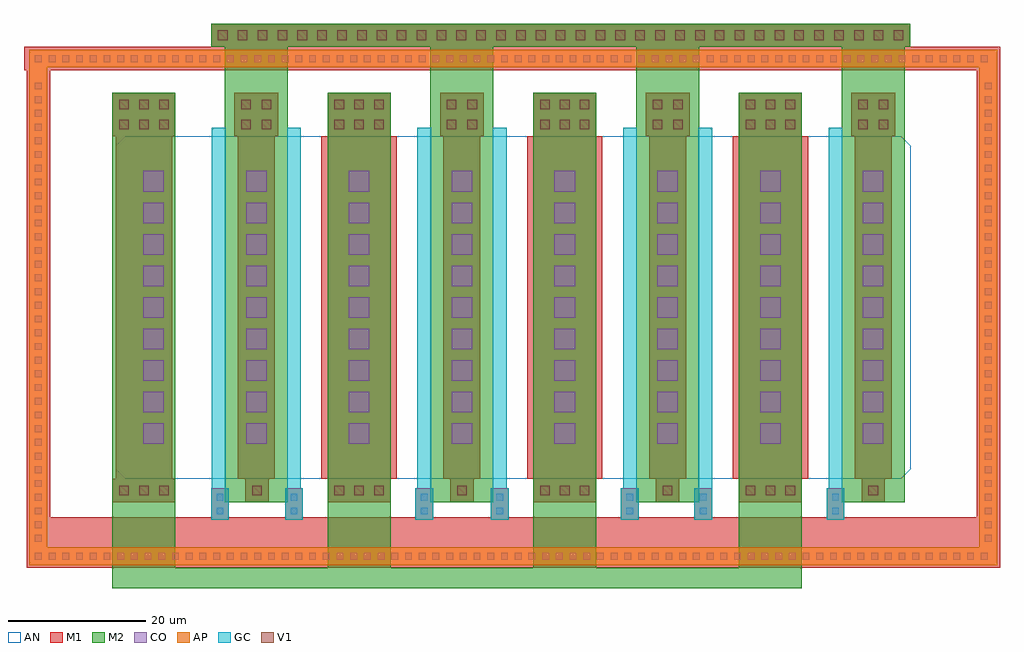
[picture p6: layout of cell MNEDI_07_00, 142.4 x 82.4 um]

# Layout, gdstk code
import gdstk
lib = gdstk.Library(unit=1e-6, precision=1e-09)
def R(c, l, rs):  # rectangles x0, y0, x1, y1
    for r in rs: c.add(gdstk.rectangle(r[:2], r[2:], *l))
def A(c, l, x, y, w, h, nx, ny, dx, dy):  # array of equal rectangles
    R(c, l, [(x+i*dx, y+j*dy, x+i*dx+w, y+j*dy+h) for i in range(nx) for j in range(ny)])
def P(c, l, *ps):  # polygons
    for p in ps: c.add(gdstk.Polygon(p, *l))
AP = (3, 1)
AN = (3, 2)
GC = (8, 1)
CO = (11, 0)
M1 = (13, 0)
V1 = (19, 0)
M2 = (20, 0)

wlmn_cdns_696586951423 = lib.new_cell('WLMN_CDNS_696586951423')

tc14_cdns_696586951420 = lib.new_cell('TC14_CDNS_696586951420')
R(tc14_cdns_696586951420, M1, [(-4.6,-3.1,4.6,3.2)])
A(tc14_cdns_696586951420, V1, -3.6, -2.1, 1.4, 1.4, 3, 2, 2.9, 2.9)
R(tc14_cdns_696586951420, M2, [(-4.6,-3.1,4.6,3.2)])

tc14_cdns_696586951421 = lib.new_cell('TC14_CDNS_696586951421')
R(tc14_cdns_696586951421, M1, [(-1.7,-3.1,1.7,3.2)])
R(tc14_cdns_696586951421, V1, [(-0.7,-2.1,0.7,-0.7), (-0.7,0.8,0.7,2.2)])
R(tc14_cdns_696586951421, M2, [(-1.7,-3.1,1.7,3.2)])

tc14_cdns_696586951422 = lib.new_cell('TC14_CDNS_696586951422')
R(tc14_cdns_696586951422, M1, [(-4.6,-1.7,4.6,1.7)])
A(tc14_cdns_696586951422, V1, -3.6, -0.7, 1.4, 1.4, 3, 1, 2.9, 0)
R(tc14_cdns_696586951422, M2, [(-4.6,-1.7,4.6,1.7)])

tc14_cdns_696586951423 = lib.new_cell('TC14_CDNS_696586951423')
R(tc14_cdns_696586951423, M1, [(-1.7,-1.7,1.7,1.7)])
R(tc14_cdns_696586951423, V1, [(-0.7,-0.7,0.7,0.7)])
R(tc14_cdns_696586951423, M2, [(-1.7,-1.7,1.7,1.7)])

sgct_cdns_696586951424 = lib.new_cell('SGCT_CDNS_696586951424')
R(sgct_cdns_696586951424, GC, [(-1.3,-2.3,1.3,2.3)])
R(sgct_cdns_696586951424, CO, [(-0.5,-1.5,0.5,-0.5), (-0.5,0.5,0.5,1.5)])
R(sgct_cdns_696586951424, M1, [(-1.3,-2.3,1.3,2.3)])

tc14_cdns_696586951425 = lib.new_cell('TC14_CDNS_696586951425')
R(tc14_cdns_696586951425, M1, [(-51,-1.7,51,1.7)])
A(tc14_cdns_696586951425, V1, -50, -0.7, 1.4, 1.4, 35, 1, 2.9, 0)
R(tc14_cdns_696586951425, M2, [(-51,-1.7,51,1.7)])

mnedi_07_00 = lib.new_cell('MNEDI_07_00')
P(mnedi_07_00, AP, [(5,5),(5,77.6),(7.6,77.6),(7.6,7.6),(143.6,7.6),(143.6,77.6),(5,77.6),(5,80.2),(146.2,80.2),(146.2,5)])
P(mnedi_07_00, AN, [(19,17.6),(17.6,19),(17.6,66.2),(19,67.6),(132.2,67.6),(133.6,66.2),(133.6,19),(132.2,17.6)],
  [(19,17.6),(17.6,19),(17.6,66.2),(19,67.6),(132.2,67.6),(133.6,66.2),(133.6,19),(132.2,17.6)])
R(mnedi_07_00, GC, [(31.6,16.2,33.6,68.8), (42.6,16.2,44.6,68.8), (61.6,16.2,63.6,68.8), (72.6,16.2,74.6,68.8), (91.6,16.2,93.6,68.8), (102.6,16.2,104.6,68.8), (121.6,16.2,123.6,68.8)])
A(mnedi_07_00, CO, 5.8, 5.8, 1, 1, 70, 2, 2, 72.6)
A(mnedi_07_00, CO, 5.8, 8.4, 1, 1, 1, 34, 0, 2)
A(mnedi_07_00, CO, 144.4, 8.4, 1, 1, 1, 34, 0, 2)
A(mnedi_07_00, CO, 21.6, 22.7, 3, 3, 1, 9, 0, 4.6)
A(mnedi_07_00, CO, 126.6, 22.7, 3, 3, 1, 9, 0, 4.6)
R(mnedi_07_00, CO, [(36.6,22.7,39.6,25.7), (36.6,22.7,39.6,25.7), (51.6,22.7,54.6,25.7), (51.6,22.7,54.6,25.7), (66.6,22.7,69.6,25.7), (66.6,22.7,69.6,25.7), (81.6,22.7,84.6,25.7), (81.6,22.7,84.6,25.7), (96.6,22.7,99.6,25.7), (96.6,22.7,99.6,25.7), (111.6,22.7,114.6,25.7), (111.6,22.7,114.6,25.7), (36.6,27.3,39.6,30.3), (36.6,27.3,39.6,30.3), (51.6,27.3,54.6,30.3), (51.6,27.3,54.6,30.3), (66.6,27.3,69.6,30.3), (66.6,27.3,69.6,30.3), (81.6,27.3,84.6,30.3), (81.6,27.3,84.6,30.3), (96.6,27.3,99.6,30.3), (96.6,27.3,99.6,30.3), (111.6,27.3,114.6,30.3), (111.6,27.3,114.6,30.3), (36.6,31.9,39.6,34.9), (36.6,31.9,39.6,34.9), (51.6,31.9,54.6,34.9), (51.6,31.9,54.6,34.9), (66.6,31.9,69.6,34.9), (66.6,31.9,69.6,34.9), (81.6,31.9,84.6,34.9), (81.6,31.9,84.6,34.9), (96.6,31.9,99.6,34.9), (96.6,31.9,99.6,34.9), (111.6,31.9,114.6,34.9), (111.6,31.9,114.6,34.9), (36.6,36.5,39.6,39.5), (36.6,36.5,39.6,39.5), (51.6,36.5,54.6,39.5), (51.6,36.5,54.6,39.5), (66.6,36.5,69.6,39.5), (66.6,36.5,69.6,39.5), (81.6,36.5,84.6,39.5), (81.6,36.5,84.6,39.5), (96.6,36.5,99.6,39.5), (96.6,36.5,99.6,39.5), (111.6,36.5,114.6,39.5), (111.6,36.5,114.6,39.5), (36.6,41.1,39.6,44.1), (36.6,41.1,39.6,44.1), (51.6,41.1,54.6,44.1), (51.6,41.1,54.6,44.1), (66.6,41.1,69.6,44.1), (66.6,41.1,69.6,44.1), (81.6,41.1,84.6,44.1), (81.6,41.1,84.6,44.1), (96.6,41.1,99.6,44.1), (96.6,41.1,99.6,44.1), (111.6,41.1,114.6,44.1), (111.6,41.1,114.6,44.1), (36.6,45.7,39.6,48.7), (36.6,45.7,39.6,48.7), (51.6,45.7,54.6,48.7), (51.6,45.7,54.6,48.7), (66.6,45.7,69.6,48.7), (66.6,45.7,69.6,48.7), (81.6,45.7,84.6,48.7), (81.6,45.7,84.6,48.7), (96.6,45.7,99.6,48.7), (96.6,45.7,99.6,48.7), (111.6,45.7,114.6,48.7), (111.6,45.7,114.6,48.7), (36.6,50.3,39.6,53.3), (36.6,50.3,39.6,53.3), (51.6,50.3,54.6,53.3), (51.6,50.3,54.6,53.3), (66.6,50.3,69.6,53.3), (66.6,50.3,69.6,53.3), (81.6,50.3,84.6,53.3), (81.6,50.3,84.6,53.3), (96.6,50.3,99.6,53.3), (96.6,50.3,99.6,53.3), (111.6,50.3,114.6,53.3), (111.6,50.3,114.6,53.3), (36.6,54.9,39.6,57.9), (36.6,54.9,39.6,57.9), (51.6,54.9,54.6,57.9), (51.6,54.9,54.6,57.9), (66.6,54.9,69.6,57.9), (66.6,54.9,69.6,57.9), (81.6,54.9,84.6,57.9), (81.6,54.9,84.6,57.9), (96.6,54.9,99.6,57.9), (96.6,54.9,99.6,57.9), (111.6,54.9,114.6,57.9), (111.6,54.9,114.6,57.9), (36.6,59.5,39.6,62.5), (36.6,59.5,39.6,62.5), (51.6,59.5,54.6,62.5), (51.6,59.5,54.6,62.5), (66.6,59.5,69.6,62.5), (66.6,59.5,69.6,62.5), (81.6,59.5,84.6,62.5), (81.6,59.5,84.6,62.5), (96.6,59.5,99.6,62.5), (96.6,59.5,99.6,62.5), (111.6,59.5,114.6,62.5), (111.6,59.5,114.6,62.5)])
R(mnedi_07_00, M1, [(5,5,146.2,7.6), (5,7.6,7.6,77.6), (7.6,7.6,146.6,12), (143.6,7.6,146.2,77.6), (17.6,17.6,25.8,67.6), (35.4,17.6,40.8,67.6), (35.4,17.6,40.8,67.6), (47.6,17.6,55.8,67.6), (50.4,17.6,58.6,67.6), (65.4,17.6,70.8,67.6), (65.4,17.6,70.8,67.6), (77.6,17.6,85.8,67.6), (80.4,17.6,88.6,67.6), (95.4,17.6,100.8,67.6), (95.4,17.6,100.8,67.6), (107.6,17.6,115.8,67.6), (110.4,17.6,118.6,67.6), (125.4,17.6,130.8,67.6), (5,77.6,146.2,80.2)])
A(mnedi_07_00, M2, 48.5, 1.6, 9.2, 72.3, 3, 1, 30, 0)
A(mnedi_07_00, M2, 33.5, 14.2, 9.2, 69.8, 4, 1, 30, 0)
R(mnedi_07_00, M2, [(17.1,1.6,18.6,3.1), (17.1,1.6,26.3,73.9), (31.5,83,32.5,84)])
mnedi_07_00.add(gdstk.FlexPath([(4.2,78.9),(146.6,78.9)], 3.4, ends="flush", simple_path=True, layer=13, datatype=0))  # M1
mnedi_07_00.add(gdstk.FlexPath([(6.3,4.6),(6.3,80.6)], 3.4, ends="flush", simple_path=True, layer=13, datatype=0))  # M1
mnedi_07_00.add(gdstk.FlexPath([(4.6,6.3),(146.6,6.3)], 3.4, ends="flush", simple_path=True, layer=13, datatype=0))  # M1
mnedi_07_00.add(gdstk.FlexPath([(144.9,4.6),(144.9,80.6)], 3.4, ends="flush", simple_path=True, layer=13, datatype=0))  # M1
mnedi_07_00.add(gdstk.FlexPath([(117.7,3.1),(17.1,3.1)], 3, ends="flush", simple_path=True, layer=20, datatype=0))  # M2
mnedi_07_00.add(gdstk.Reference(wlmn_cdns_696586951423, (0,0)))
mnedi_07_00.add(gdstk.Reference(tc14_cdns_696586951420, (113.1,70.7)))
mnedi_07_00.add(gdstk.Reference(tc14_cdns_696586951420, (83.1,70.7)))
mnedi_07_00.add(gdstk.Reference(tc14_cdns_696586951420, (53.1,70.7)))
mnedi_07_00.add(gdstk.Reference(tc14_cdns_696586951420, (21.7,70.7)))
mnedi_07_00.add(gdstk.Reference(tc14_cdns_696586951421, (129.6,70.7)))
mnedi_07_00.add(gdstk.Reference(tc14_cdns_696586951421, (126.6,70.7)))
mnedi_07_00.add(gdstk.Reference(tc14_cdns_696586951421, (99.6,70.7)))
mnedi_07_00.add(gdstk.Reference(tc14_cdns_696586951421, (96.6,70.7)))
mnedi_07_00.add(gdstk.Reference(tc14_cdns_696586951421, (69.6,70.7)))
mnedi_07_00.add(gdstk.Reference(tc14_cdns_696586951421, (66.6,70.7)))
mnedi_07_00.add(gdstk.Reference(tc14_cdns_696586951421, (39.6,70.7)))
mnedi_07_00.add(gdstk.Reference(tc14_cdns_696586951421, (36.6,70.7)))
mnedi_07_00.add(gdstk.Reference(tc14_cdns_696586951422, (113.1,15.9)))
mnedi_07_00.add(gdstk.Reference(tc14_cdns_696586951422, (83.1,15.9)))
mnedi_07_00.add(gdstk.Reference(tc14_cdns_696586951422, (53.1,15.9)))
mnedi_07_00.add(gdstk.Reference(tc14_cdns_696586951422, (21.7,15.9)))
mnedi_07_00.add(gdstk.Reference(tc14_cdns_696586951423, (128.1,15.9)))
mnedi_07_00.add(gdstk.Reference(tc14_cdns_696586951423, (98.1,15.9)))
mnedi_07_00.add(gdstk.Reference(tc14_cdns_696586951423, (68.1,15.9)))
mnedi_07_00.add(gdstk.Reference(tc14_cdns_696586951423, (38.2,15.9)))
mnedi_07_00.add(gdstk.Reference(sgct_cdns_696586951424, (122.6,13.9)))
mnedi_07_00.add(gdstk.Reference(sgct_cdns_696586951424, (103.3,13.9)))
mnedi_07_00.add(gdstk.Reference(sgct_cdns_696586951424, (92.6,13.9)))
mnedi_07_00.add(gdstk.Reference(sgct_cdns_696586951424, (73.6,13.9)))
mnedi_07_00.add(gdstk.Reference(sgct_cdns_696586951424, (62.6,13.9)))
mnedi_07_00.add(gdstk.Reference(sgct_cdns_696586951424, (43.6,13.9)))
mnedi_07_00.add(gdstk.Reference(sgct_cdns_696586951424, (32.8,13.9)))
mnedi_07_00.add(gdstk.Reference(tc14_cdns_696586951425, (82.5,82.3)))

lib.write_gds('MNEDI_07_00.gds')
